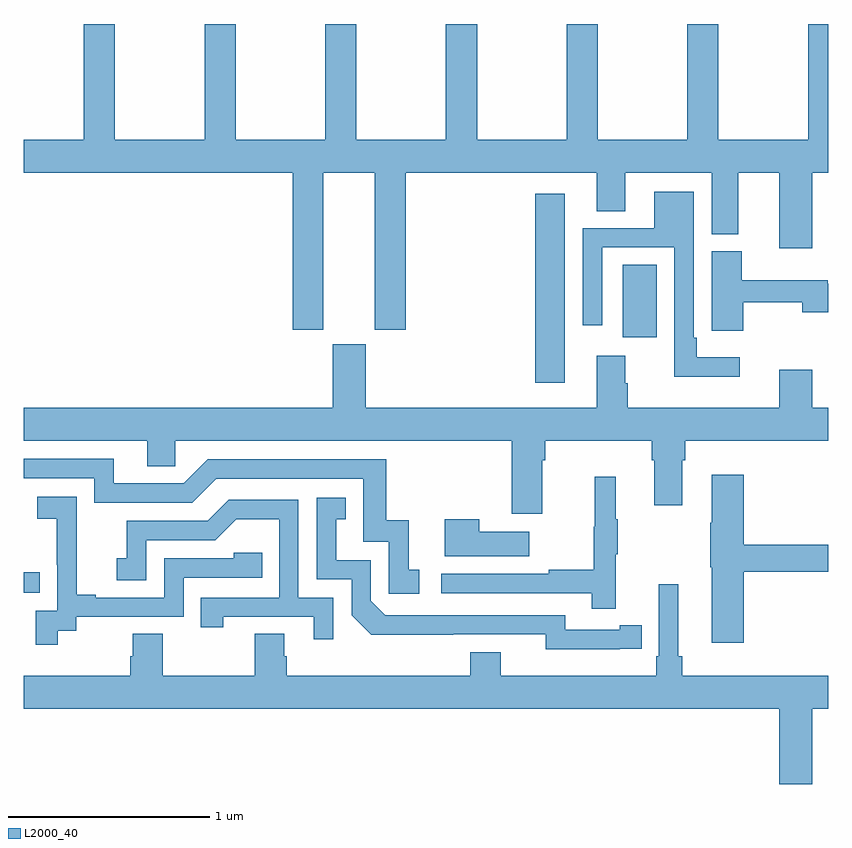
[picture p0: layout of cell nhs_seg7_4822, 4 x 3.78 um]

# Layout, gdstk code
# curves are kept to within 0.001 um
import gdstk
lib = gdstk.Library(unit=1e-6, precision=1e-09)
def R(c, l, rs):  # rectangles x0, y0, x1, y1
    for r in rs: c.add(gdstk.rectangle(r[:2], r[2:], *l))
def P(c, l, *ps):  # polygons
    for p in ps: c.add(gdstk.Polygon(p, *l))
L2000_40 = (2000, 40)

nhs_seg7_4822 = lib.new_cell('nhs_seg7_4822')
R(nhs_seg7_4822, L2000_40, [(413,1021.173,413.081,1021.274), (415.544,1022.217,415.69,1023.157), (415.979,1022.442,416.146,1022.804)])
P(nhs_seg7_4822, L2000_40, [(416.899,1023.424),(416.454,1023.424),(416.454,1024),(416.299,1024),(416.299,1023.424),(415.854,1023.424),(415.854,1024),(415.699,1024),(415.699,1023.424),(415.254,1023.424),(415.254,1024),(415.099,1024),(415.099,1023.424),(414.654,1023.424),(414.654,1024),(414.499,1024),(414.499,1023.424),(414.054,1023.424),(414.054,1024),(413.899,1024),(413.899,1023.424),(413.454,1023.424),(413.454,1024),(413.299,1024),(413.299,1023.424),(413,1023.424),(413,1023.26),(414.338,1023.26),(414.338,1022.481),(414.49,1022.481),(414.49,1023.26),(414.746,1023.26),(414.746,1022.481),(414.899,1022.481),(414.899,1023.26),(415.85,1023.26),(415.85,1023.07),(415.99,1023.07),(415.99,1023.26),(416.42,1023.26),(416.42,1022.956),(416.551,1022.956),(416.551,1023.26),(416.756,1023.26),(416.756,1022.886),(416.92,1022.886),(416.92,1023.26),(417,1023.26),(417,1024),(416.899,1024)],
  [(416.56,1022.344),(416.347,1022.344),(416.347,1022.44),(416.331,1022.44),(416.331,1023.166),(416.135,1023.166),(416.135,1022.985),(415.779,1022.985),(415.779,1022.502),(415.875,1022.502),(415.875,1022.889),(416.235,1022.889),(416.235,1022.246),(416.56,1022.246)],
  [(416.577,1022.616),(416.87,1022.616),(416.87,1022.566),(417,1022.566),(417,1022.708),(416.998,1022.708),(416.998,1022.725),(416.569,1022.725),(416.569,1022.871),(416.42,1022.871),(416.42,1022.587),(416.421,1022.587),(416.421,1022.475),(416.577,1022.475)],
  [(415.579,1021.832),(415.592,1021.832),(415.592,1021.928),(416.123,1021.928),(416.123,1021.832),(416.135,1021.832),(416.135,1021.608),(416.275,1021.608),(416.275,1021.832),(416.288,1021.832),(416.288,1021.928),(417,1021.928),(417,1022.092),(416.92,1022.092),(416.92,1022.281),(416.756,1022.281),(416.756,1022.092),(416.003,1022.092),(416.003,1022.213),(415.99,1022.213),(415.99,1022.35),(415.85,1022.35),(415.85,1022.092),(414.7,1022.092),(414.7,1022.409),(414.536,1022.409),(414.536,1022.092),(413,1022.092),(413,1021.928),(413.615,1021.928),(413.615,1021.801),(413.754,1021.801),(413.754,1021.928),(415.427,1021.928),(415.427,1021.566),(415.579,1021.566)],
  [(414.967,1021.287),(414.914,1021.287),(414.914,1021.534),(414.803,1021.534),(414.803,1021.836),(413.916,1021.836),(413.796,1021.716),(413.449,1021.716),(413.449,1021.839),(413,1021.839),(413,1021.743),(413.352,1021.743),(413.352,1021.62),(413.838,1021.62),(413.958,1021.74),(414.687,1021.74),(414.687,1021.425),(414.816,1021.425),(414.816,1021.167),(414.967,1021.167)],
  [(416.579,1021.276),(417,1021.276),(417,1021.412),(416.579,1021.412),(416.579,1021.759),(416.42,1021.759),(416.42,1021.52),(416.413,1021.52),(416.413,1021.299),(416.42,1021.299),(416.42,1020.924),(416.579,1020.924)],
  [(415.943,1021.363),(415.954,1021.363),(415.954,1021.537),(415.943,1021.537),(415.943,1021.75),(415.84,1021.75),(415.84,1021.5),(415.833,1021.5),(415.833,1021.286),(415.609,1021.286),(415.609,1021.266),(415.077,1021.266),(415.077,1021.17),(415.825,1021.17),(415.825,1021.092),(415.943,1021.092)],
  [(413.17,1020.985),(413.262,1020.985),(413.262,1021.053),(413.796,1021.053),(413.796,1021.248),(414.185,1021.248),(414.185,1021.371),(414.045,1021.371),(414.045,1021.344),(413.7,1021.344),(413.7,1021.149),(413.359,1021.149),(413.359,1021.162),(413.264,1021.162),(413.264,1021.445),(413.265,1021.445),(413.265,1021.651),(413.067,1021.651),(413.067,1021.541),(413.165,1021.541),(413.165,1021.313),(413.166,1021.313),(413.166,1021.083),(413.061,1021.083),(413.061,1020.915),(413.17,1020.915)],
  [(415.964,1020.894),(416.072,1020.894),(416.072,1021.01),(415.964,1021.01),(415.964,1020.99),(415.692,1020.99),(415.692,1021.062),(414.798,1021.062),(414.726,1021.134),(414.726,1021.335),(414.553,1021.335),(414.553,1021.539),(414.602,1021.539),(414.602,1021.645),(414.456,1021.645),(414.456,1021.239),(414.63,1021.239),(414.63,1021.062),(414.728,1020.965),(415.596,1020.966),(415.596,1020.893)],
  [(414.54,1021.149),(414.366,1021.149),(414.366,1021.635),(414.02,1021.635),(413.915,1021.53),(413.512,1021.53),(413.512,1021.345),(413.463,1021.345),(413.463,1021.236),(413.61,1021.236),(413.61,1021.434),(413.952,1021.434),(414.056,1021.538),(414.27,1021.538),(414.27,1021.149),(413.881,1021.149),(413.881,1021.002),(413.992,1021.002),(413.992,1021.053),(414.443,1021.053),(414.443,1020.942),(414.54,1020.942)],
  [(415.513,1021.477),(415.265,1021.477),(415.265,1021.537),(415.094,1021.537),(415.094,1021.355),(415.513,1021.355)],
  [(416.92,1020.596),(417,1020.596),(417,1020.76),(416.273,1020.76),(416.273,1020.856),(416.254,1020.856),(416.254,1021.216),(416.157,1021.216),(416.157,1020.856),(416.144,1020.856),(416.144,1020.76),(415.372,1020.76),(415.372,1020.877),(415.22,1020.877),(415.22,1020.76),(414.308,1020.76),(414.308,1020.858),(414.295,1020.858),(414.295,1020.968),(414.148,1020.968),(414.148,1020.76),(413.691,1020.76),(413.691,1020.968),(413.543,1020.968),(413.543,1020.858),(413.531,1020.858),(413.531,1020.76),(413,1020.76),(413,1020.596),(416.756,1020.596),(416.756,1020.222),(416.92,1020.222)])

lib.write_gds('nhs_seg7_4822.gds')
